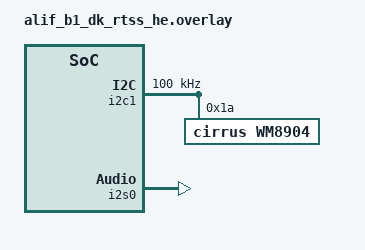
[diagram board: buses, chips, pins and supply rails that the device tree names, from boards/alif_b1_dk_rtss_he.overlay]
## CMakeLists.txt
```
# Copyright (C) 2025 Alif Semiconductor - All Rights Reserved.
# Use, distribution and modification of this code is permitted under the
# terms stated in the Alif Semiconductor Software License Agreement
#
# You should have received a copy of the Alif Semiconductor Software
# License Agreement with this file. If not, please write to:
# contact@alifsemi.com, or visit: https://alifsemi.com/license

cmake_minimum_required(VERSION 3.20.0)

# Include BLE Power Management snippet by default
if(NOT pm-ble IN_LIST SNIPPET)
  set(SNIPPET pm-ble ${SNIPPET} CACHE STRING "" FORCE)
endif()

find_package(Zephyr REQUIRED HINTS $ENV{ZEPHYR_BASE})
project(le_audio_unicast_sink)

set(COMMON_DIR ${CMAKE_CURRENT_LIST_DIR}/../../common)

target_sources(app PRIVATE
    src/main.c
    src/unicast_sink.c
    src/audio_datapath.c
    src/storage.c
    ${COMMON_DIR}/power_mgr.c
)

# Include directories
target_include_directories(app PRIVATE
	${COMMON_DIR}
)
```

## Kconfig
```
# Copyright (C) 2025 Alif Semiconductor - All Rights Reserved.
# Use, distribution and modification of this code is permitted under the
# terms stated in the Alif Semiconductor Software License Agreement
#
# You should have received a copy of the Alif Semiconductor Software
# License Agreement with this file. If not, please write to:
# contact@alifsemi.com, or visit: https://alifsemi.com/license

menu "Alif Bluetooth LE Audio Unicast Sink"

config BLE_DEVICE_NAME
	string "BLE device name"
	default "ALIF_CIS_SINK_L" if UNICAST_LOCATION_LEFT
	default "ALIF_CIS_SINK_R" if UNICAST_LOCATION_RIGHT
	default "ALIF_CIS_SINK" if UNICAST_LOCATION_BOTH
	help
	  Device name to be included in advertising packets

config MAXIMUM_PRESENTATION_DELAY_US
	int "Maximum available presentation delay in microseconds"
	range 40000 100000
	default 40000
	help
	  Maximum presentation delay must be at least 40ms.
	  There is no actual maximum value but 100ms is
	  used to set something which is long enough.
	  See LE Audio specification for more information.

config MINIMUM_PRESENTATION_DELAY_US
	int "Minimum available presentation delay in microseconds"
	range 1000 20000
	default 7500
	help
	  Minimum presentation delay to compensate for
	  the audio processing delay.

config USE_DIRECT_ADVERTISING_WHEN_RESTART
	bool "Use direct advertising when connection is lost or peer is bonded"
	default y

config USE_DIRECTED_FAST_ADVERTISING
	bool "Directed high duty cycle advertising"
	default n
	help
	  Use directed high duty cycle advertising when
	  connection is lost or peer is bonded

config BONDING_ALLOWED
	bool "Allow bonding"
	default y

config PRIVACY_ENABLED
	bool "Enable Privacy to use Random Private Resolvable Address"
	default n

choice
	prompt "Choose streaming type"
	default UNICAST_UNIDIR

	config UNICAST_BIDIR
	bool "Bidirectional"
	config UNICAST_UNIDIR
	bool "Unidirectional"
endchoice

choice
	prompt "Choose location"
	default UNICAST_LOCATION_BOTH if UNICAST_UNIDIR
	default UNICAST_LOCATION_LEFT if UNICAST_BIDIR

	config UNICAST_LOCATION_LEFT
	bool "Left"
	config UNICAST_LOCATION_RIGHT
	bool "Right"
	config UNICAST_LOCATION_BOTH
	bool "Both"
endchoice

config VOLUME_DEFAULT_LEVEL
	int "Default volume level"
	range 0 255
	default 60
	help
	  Default volume level after first boot or reset.

config VOLUME_CTRL_STEP_SIZE
	int "Volume control step size"
	range 1 255
	default 6
	help
	  Volume control step size

menu "Logging"

module = MAIN
module-str = main
source "subsys/logging/Kconfig.template.log_config"

module = UNICAST_SINK
module-str = unicast_sink
source "subsys/logging/Kconfig.template.log_config"

module = STORAGE
module-str = storage
source "subsys/logging/Kconfig.template.log_config"

endmenu # "Logging"

endmenu # "Alif Bluetooth LE Audio Unicast Sink"

source "Kconfig.zephyr"
```

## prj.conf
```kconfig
# Copyright (C) 2025 Alif Semiconductor - All Rights Reserved.
# Use, distribution and modification of this code is permitted under the
# terms stated in the Alif Semiconductor Software License Agreement
#
# You should have received a copy of the Alif Semiconductor Software
# License Agreement with this file. If not, please write to:
# contact@alifsemi.com, or visit: https://alifsemi.com/license

# Set default logging level to WARNING
CONFIG_LOG_DEFAULT_LEVEL=2

CONFIG_BT=y
CONFIG_BT_CUSTOM=y
CONFIG_ALIF_ROM_LC3_CODEC=y
CONFIG_ALIF_BLE_AUDIO=y

CONFIG_LOG=y
# CONFIG_LOG_MODE_IMMEDIATE=y
CONFIG_ASSERT=y

CONFIG_PRESENTATION_COMPENSATION_DIRECTION_SINK=y
CONFIG_PRESENTATION_COMPENSATION_CORRECTION_FACTOR=2
CONFIG_MINIMUM_PRESENTATION_DELAY_US=1000

# Should be replaced by TRNG when support is available
CONFIG_ENTROPY_GENERATOR=y
CONFIG_TEST_RANDOM_GENERATOR=y

# malloc support is required, simplest way is using newlib although it would also be possible to
# configure heap for picolibc
CONFIG_NEWLIB_LIBC=y

# Driver support for audio
CONFIG_I2S=y
CONFIG_DMA=y

# Audio driver support specific to B1 DK board.
# Audio codec is WM8904, connected via I2C.
CONFIG_I2C=y
CONFIG_WM8904=y
CONFIG_AUDIO=y
CONFIG_AUDIO_CODEC=y
CONFIG_I2C_INIT_PRIORITY=50
CONFIG_WM8904_INIT_PRIORITY=53

# This is specific to whichever clock you use. Currently presentation layer is
# commented out so this does nothing
CONFIG_AUDIO_CLOCK_DIVIDER=1

# Debug
CONFIG_USE_SEGGER_RTT=y
CONFIG_RTT_CONSOLE=y

CONFIG_MAIN_STACK_SIZE=4096
CONFIG_ISR_STACK_SIZE=4096
CONFIG_PRIVILEGED_STACK_SIZE=2048
CONFIG_IDLE_STACK_SIZE=1024
CONFIG_BOOT_BANNER=n
CONFIG_ALIF_BLE_HOST_ADDL_PRF_HEAPSIZE=10240
CONFIG_ALIF_BLE_HOST_ADDL_ENV_HEAPSIZE=8192

# Enable NVS as the backend for Settings
CONFIG_NVS=y
# Enable the Settings subsystem
CONFIG_SETTINGS=y
CONFIG_SETTINGS_NVS=y
CONFIG_SETTINGS_RUNTIME=y
CONFIG_MPU_ALLOW_FLASH_WRITE=y
CONFIG_FLASH=y
CONFIG_FLASH_MAP=y
CONFIG_NVS_LOG_LEVEL_WRN=y

# For MRAM(XIP) builds with LLVM exception tables cause linker errors as part of the code is placed to TCM
CONFIG_EXCEPTIONS=n
```

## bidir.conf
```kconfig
# Copyright (C) 2025 Alif Semiconductor - All Rights Reserved.
# Use, distribution and modification of this code is permitted under the
# terms stated in the Alif Semiconductor Software License Agreement
#
# You should have received a copy of the Alif Semiconductor Software
# License Agreement with this file. If not, please write to:
# contact@alifsemi.com, or visit: https://alifsemi.com/license

CONFIG_UNICAST_MONO=y
CONFIG_UNICAST_BIDIR=y
```

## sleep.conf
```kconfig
# Copyright (C) Alif Semiconductor - All Rights Reserved.
# Use, distribution and modification of this code is permitted under the
# terms stated in the Alif Semiconductor Software License Agreement
#
# You should have received a copy of the Alif Semiconductor Software
# License Agreement with this file. If not, please write to:
# contact@alifsemi.com, or visit: https://alifsemi.com/license

CONFIG_PM=y
CONFIG_PM_DEVICE=y
CONFIG_COUNTER=y
CONFIG_COUNTER_RTC_SNPS_DW=y
CONFIG_COUNTER_SNPS_DW=y
CONFIG_CORTEX_M_SYSTICK_IDLE_TIMER=y
CONFIG_POWEROFF=y

CONFIG_SE_SERVICE_INIT_PRIORITY=1
CONFIG_KERNEL_INIT_PRIORITY_DEFAULT=0
CONFIG_GPIO_INIT_PRIORITY=40
CONFIG_ALIF_MAX_SLEEP_CLOCK_DRIFT=252
CONFIG_ALIF_MAX_ACTIVE_CLOCK_DRIFT=252
```

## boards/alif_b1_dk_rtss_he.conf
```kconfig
# Copyright (C) 2023 Alif Semiconductor - All Rights Reserved.
# Use, distribution and modification of this code is permitted under the
# terms stated in the Alif Semiconductor Software License Agreement
#
# You should have received a copy of the Alif Semiconductor Software
# License Agreement with this file. If not, please write to:
# contact@alifsemi.com, or visit: https://alifsemi.com/license

# Audio driver support specific to B1 DK board.
# Audio codec is WM8904, connected via I2C.
CONFIG_I2C=y
CONFIG_WM8904=y

CONFIG_I2C_INIT_PRIORITY=50
CONFIG_I2C_TCA954X_ROOT_INIT_PRIO=51
CONFIG_I2C_TCA954X_CHANNEL_INIT_PRIO=52
CONFIG_WM8904_INIT_PRIORITY=53

# This is specific to whichever clock you use. Currently presentation layer is
# commented out so this does nothing
CONFIG_AUDIO_CLOCK_DIVIDER=1

# Debug
CONFIG_USE_SEGGER_RTT=y
CONFIG_RTT_CONSOLE=y
```

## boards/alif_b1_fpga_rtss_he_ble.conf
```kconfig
# Copyright (C) 2023 Alif Semiconductor - All Rights Reserved.
# Use, distribution and modification of this code is permitted under the
# terms stated in the Alif Semiconductor Software License Agreement
#
# You should have received a copy of the Alif Semiconductor Software
# License Agreement with this file. If not, please write to:
# contact@alifsemi.com, or visit: https://alifsemi.com/license

# Audio driver support specific to B1 FPGA board.
# Audio codec is WM8904, connected via I2C.
# Audio clock is provided by SI570, connected via I2C using TCA9548 I2C mux.
CONFIG_I2C=y
CONFIG_WM8904=y
CONFIG_SI570=y

CONFIG_I2C_INIT_PRIORITY=50
CONFIG_I2C_TCA954X_ROOT_INIT_PRIO=51
CONFIG_I2C_TCA954X_CHANNEL_INIT_PRIO=52
CONFIG_WM8904_INIT_PRIORITY=53

# SI570 clock output is passed through a fixed /8 divider to create MCLK signal
CONFIG_AUDIO_CLOCK_DIVIDER=8

# Uses ROM code version 1.2
CONFIG_ALIF_BLE_ROM_IMAGE_V1_2=y

# Debug
CONFIG_USE_SEGGER_RTT=y
CONFIG_RTT_CONSOLE=y

# Debugging configuration
#CONFIG_THREAD_NAME=y
#CONFIG_THREAD_ANALYZER=y
#CONFIG_THREAD_ANALYZER_AUTO=y
#CONFIG_THREAD_ANALYZER_RUN_UNLOCKED=y
#CONFIG_THREAD_ANALYZER_USE_PRINTK=y

# Add asserts
#CONFIG_ASSERT=y
#CONFIG_ASSERT_VERBOSE=y
#CONFIG_ASSERT_NO_COND_INFO=n
#CONFIG_ASSERT_NO_MSG_INFO=n
#CONFIG_THREAD_NAME=y
#CONFIG_STACK_SENTINEL=y
```

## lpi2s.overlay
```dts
/* Copyright (C) Alif Semiconductor - All Rights Reserved.
 * Use, distribution and modification of this code is permitted under the
 * terms stated in the Alif Semiconductor Software License Agreement
 *
 * You should have received a copy of the Alif Semiconductor Software
 * License Agreement with this file. If not, please write to:
 * contact@alifsemi.com, or visit: https://alifsemi.com/license
 *
 */

#include <dt-bindings/pinctrl/balletto-pinctrl.h>

/*
 * This overlay file is used to enable LPI2S interface for audio
 * and requires external jumpers to be connected to be able to
 * communicate with the audio codec:
 *     I2S SCK: P1.6 -> P4.5
 *     I2S WS:  P1.7 -> P4.6
 *     I2S SDI: P2.4 -> P4.3
 *     I2S SDO: P2.5 -> P4.4
 */

#define LPI2S_IRQ_NUM  48
#define LPI2S_IRQ_PRIO 3

#ifndef PIN_P4_3__LPI2S0_SDI_B
#define PIN_P4_3__LPI2S0_SDI_B PINMUX_PIN(PIN_P4_3, 2)
#endif
#ifndef PIN_P4_4__LPI2S0_SDO_B
#define PIN_P4_4__LPI2S0_SDO_B PINMUX_PIN(PIN_P4_4, 2)
#endif
#ifndef PIN_P4_5__LPI2S0_SCLK_B
#define PIN_P4_5__LPI2S0_SCLK_B PINMUX_PIN(PIN_P4_5, 3)
#endif
#ifndef PIN_P4_6__LPI2S0_WS_B
#define PIN_P4_6__LPI2S0_WS_B PINMUX_PIN(PIN_P4_6, 3)
#endif

/ {
	aliases {
		i2s-bus = &i2s4;
	};
};

&pinctrl_lpi2s {
	group0 {
		pinmux = <PIN_P4_3__LPI2S0_SDI_B>,
			 <PIN_P4_4__LPI2S0_SDO_B>,
			 <PIN_P4_5__LPI2S0_SCLK_B>,
			 <PIN_P4_6__LPI2S0_WS_B>;
		read-enable = <0x1>;
	};
};

/* Enable LPI2S interface */
&i2s4 {
	/delete-property/ clock-frequency;
	/delete-property/ driver-instance;
	compatible = "alif,i2s-sync";
	interrupts = <LPI2S_IRQ_NUM LPI2S_IRQ_PRIO>;
	bit-depth = <16>;
	sample-rate = <48000>;
	status = "okay";
};

/* Disable default I2S interface */
&i2s0 {
	status = "disabled";
};
```

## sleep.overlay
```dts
/* Copyright Alif Semiconductor - All Rights Reserved.
 * Use, distribution and modification of this code is permitted under the
 * terms stated in the Alif Semiconductor Software License Agreement
 *
 * You should have received a copy of the Alif Semiconductor Software
 * License Agreement with this file. If not, please write to:
 * contact@alifsemi.com, or visit: https://alifsemi.com/license
 *
 */

/*
 * Enable RTC and Set the counter to increment every 1sec
 */
&rtc0 {
	prescaler = < 0 >;
	status = "okay";
};

/**
 * Set the console uart frequency to use the HFOSC(38.4)
 */
&uart2 {
	clock-frequency = < 38400000 >;
};

/ {
	chosen {
		zephyr,cortex-m-idle-timer = &rtc0;
	};

	power-states {
		off: off {
			/* 4ms is time reserved for os wakeup and sleep */
			min-residency-us = < 2000000 >;
			/*min-residency-us = < 4000 >;*/
		};
	};
};
```

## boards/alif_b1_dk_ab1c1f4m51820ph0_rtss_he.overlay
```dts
/* Copyright (C) Alif Semiconductor - All Rights Reserved.
 * Use, distribution and modification of this code is permitted under the
 * terms stated in the Alif Semiconductor Software License Agreement
 *
 * You should have received a copy of the Alif Semiconductor Software
 * License Agreement with this file. If not, please write to:
 * contact@alifsemi.com, or visit: https://alifsemi.com/license
 *
 */

#include "unicast_acceptor.dtsi"
```

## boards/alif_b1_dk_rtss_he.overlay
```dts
/* Copyright (C) 2025 Alif Semiconductor - All Rights Reserved.
 * Use, distribution and modification of this code is permitted under the
 * terms stated in the Alif Semiconductor Software License Agreement
 *
 * You should have received a copy of the Alif Semiconductor Software
 * License Agreement with this file. If not, please write to:
 * contact@alifsemi.com, or visit: https://alifsemi.com/license
 *
 */

#include <dt-bindings/pinctrl/balletto-pinctrl.h>
#include <dt-bindings/i2c/i2c.h>
#include <dt-bindings/gpio/gpio.h>

#define I2S0_IRQ_NUM  141
#define I2S0_IRQ_PRIO 3

#define LPI2S_IRQ_NUM  48
#define LPI2S_IRQ_PRIO 3

/ {
	aliases {
		/delete-property/ sw0;

		audio-codec = &wm8904;
		i2s-bus = &i2s0;
		/*i2s-mic = &i2s2;*/
	};

	/delete-node/ buttons;
};

&dma2 {
	status = "okay";
};

&i2c1 {
	clock-frequency = <I2C_BITRATE_STANDARD>;
	status = "okay";

	wm8904: wm8904@1a {
		compatible = "cirrus,wm8904";
		reg = <0x1a>;
		status = "okay";
	};
};

/* Sink (output) to WM8904 codec IC */
&i2s0 {
	/delete-property/ clock-frequency;
	/delete-property/ driver-instance;
	compatible = "alif,i2s-sync";
	interrupts = <I2S0_IRQ_NUM I2S0_IRQ_PRIO>;
	bit-depth = <16>;
	sample-rate = <48000>;
	status = "okay";
};

/* Source (input) use onboard I2S microphones (T5848)
 *
 * Balletto A5 DevKit does not have I2S mics anymore.
 * TODO: Need to be replaced by the PDM mics.
 */

&pinctrl_i2c1 {
	group0 {
		pinmux = <PIN_P7_2__I2C1_SDA_C>,
			 <PIN_P7_3__I2C1_SCL_C>;
	};
};

&pinctrl_i2s0 {
	group0 {
		pinmux = <PIN_P2_4__I2S0_SDI_B>,
			 <PIN_P2_5__I2S0_SDO_B>,
			 <PIN_P1_7__I2S0_WS_A>,
			 <PIN_P1_6__I2S0_SCLK_A>;
	};
};

/* Disable unnecessary nodes */
&uart_ahi {
	status = "disabled";
};

&i2s1 {
	status = "disabled";
};
```

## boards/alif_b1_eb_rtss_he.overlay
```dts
/* Copyright (C) Alif Semiconductor - All Rights Reserved.
 * Use, distribution and modification of this code is permitted under the
 * terms stated in the Alif Semiconductor Software License Agreement
 *
 * You should have received a copy of the Alif Semiconductor Software
 * License Agreement with this file. If not, please write to:
 * contact@alifsemi.com, or visit: https://alifsemi.com/license
 *
 */

#include <dt-bindings/pinctrl/balletto-pinctrl.h>
#include <dt-bindings/i2c/i2c.h>
#include <dt-bindings/gpio/gpio.h>

#define I2S0_IRQ_NUM  141
#define I2S0_IRQ_PRIO 3

#define LPI2S_IRQ_NUM  48
#define LPI2S_IRQ_PRIO 3

/ {
	aliases {
		/delete-property/ sw0;

		audio-codec = &wm8904;
		i2s-bus = &i2s0;
		/*i2s-mic = &i2s2;*/
	};

	/delete-node/ buttons;
};

&dma2 {
	status = "okay";
};

&i2c0 {
	clock-frequency = <I2C_BITRATE_STANDARD>;
	status = "okay";

	wm8904: wm8904@1a {
		compatible = "cirrus,wm8904";
		reg = <0x1a>;
		status = "okay";
	};
};

/* Sink (output) to WM8904 codec IC */
&i2s0 {
	/delete-property/ clock-frequency;
	/delete-property/ driver_instance;
	compatible = "alif,i2s-sync";
	interrupts = <I2S0_IRQ_NUM I2S0_IRQ_PRIO>;
	bit-depth = <16>;
	sample-rate = <48000>;
	status = "okay";
};

/* Source (input) use onboard I2S microphones (T5848)
 *
 * Balletto A5 DevKit does not have I2S mics anymore.
 * TODO: Need to be replaced by the PDM mics.
 */

&pinctrl_i2c0 {
	group0 {
		pinmux = <PIN_P7_0__I2C0_SDA_C>,
			 <PIN_P7_1__I2C0_SCL_C>;
	};
};

&pinctrl_i2s0 {
	group0 {
		pinmux = <PIN_P8_0__I2S0_SDI_C>,
			 <PIN_P8_1__I2S0_SDO_C>,
			 <PIN_P8_3__I2S0_WS_C>,
			 <PIN_P8_2__I2S0_SCLK_C>;
	};
};

/* Disable unnecessary nodes */
&i2s1 {
	status = "disabled";
};

&uart_ahi {
	status = "disabled";
};
```

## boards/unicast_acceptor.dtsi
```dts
/* Copyright (C) Alif Semiconductor - All Rights Reserved.
 * Use, distribution and modification of this code is permitted under the
 * terms stated in the Alif Semiconductor Software License Agreement
 *
 * You should have received a copy of the Alif Semiconductor Software
 * License Agreement with this file. If not, please write to:
 * contact@alifsemi.com, or visit: https://alifsemi.com/license
 *
 */

#include <dt-bindings/pinctrl/balletto-pinctrl.h>
#include <dt-bindings/i2c/i2c.h>
#include <dt-bindings/gpio/gpio.h>

#define I2S0_IRQ_NUM  141
#define I2S0_IRQ_PRIO 3

/ {
	aliases {
		/delete-property/ sw0;

		audio-codec = &wm8904;
		i2s-bus = &i2s0;
		/*i2s-mic = &i2s2;*/
	};

	/delete-node/ buttons;
};

#if 0 /* this needs some more changes... */
&suspend_idle {
	// min-residency-us = <500>;
	// exit-latency-us = <500>;
	status = "okay";
};
#endif

&dma2 {
	status = "okay";
};

&i2c1 {
	clock-frequency = <I2C_BITRATE_STANDARD>;
	status = "okay";

	wm8904: wm8904@1a {
		compatible = "cirrus,wm8904";
		reg = <0x1a>;
		status = "okay";
	};
};

/* Sink (output) to WM8904 codec IC */
&i2s0 {
	/delete-property/ clock-frequency;
	/delete-property/ driver-instance;
	compatible = "alif,i2s-sync";
	interrupts = <I2S0_IRQ_NUM I2S0_IRQ_PRIO>;
	bit-depth = <16>;
	sample-rate = <48000>;
	status = "okay";
};

/* Source (input) use onboard I2S microphones (T5848)
 *
 * Balletto A5 DevKit does not have I2S mics anymore.
 * TODO: Need to be replaced by the PDM mics.
 */

&pinctrl_i2c1 {
	group0 {
		pinmux = <PIN_P7_2__I2C1_SDA_C>,
			 <PIN_P7_3__I2C1_SCL_C>;
	};
};

&pinctrl_i2s0 {
	group0 {
		pinmux = <PIN_P2_4__I2S0_SDI_B>,
			 <PIN_P2_5__I2S0_SDO_B>,
			 <PIN_P1_7__I2S0_WS_A>,
			 <PIN_P1_6__I2S0_SCLK_A>;
	};
};

/* Disable unnecessary nodes */
&uart_ahi {
	status = "disabled";
};

&i2s1 {
	status = "disabled";
};
```

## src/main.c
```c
/* Copyright (C) 2025 Alif Semiconductor - All Rights Reserved.
 * Use, distribution and modification of this code is permitted under the
 * terms stated in the Alif Semiconductor Software License Agreement
 *
 * You should have received a copy of the Alif Semiconductor Software
 * License Agreement with this file. If not, please write to:
 * contact@alifsemi.com, or visit: https://alifsemi.com/license
 */
#include <stdio.h>
#include <zephyr/drivers/counter.h>
#include <zephyr/kernel.h>
#include <zephyr/logging/log.h>
#include <zephyr/settings/settings.h>
#include <zephyr/sys/__assert.h>

#include <soc_common.h>

#include "alif_ble.h"
#include "gapm.h"
#include "gapm_le.h"
#include "gapc.h"
#include "gapc_le.h"
#include "gapc_sec.h"
#include "power_mgr.h"

#include "unicast_sink.h"
#include "storage.h"

#define APPEARANCE_EARBUDS 0x0941
#define APPEARANCE_HEADSET 0x0942

#if CONFIG_UNICAST_BIDIR
#define APPEARANCE APPEARANCE_HEADSET
#else
#define APPEARANCE APPEARANCE_EARBUDS
#endif

#if CONFIG_UNICAST_LOCATION_BOTH
#define IRK_VAL 0x8B
#elif CONFIG_UNICAST_LOCATION_LEFT
#define IRK_VAL 0x8A
#elif CONFIG_UNICAST_LOCATION_RIGHT
#define IRK_VAL 0x89
#else
#define IRK_VAL 0x88
#endif

LOG_MODULE_REGISTER(main, CONFIG_MAIN_LOG_LEVEL);

K_SEM_DEFINE(gapm_init_sem, 0, 1);

struct connection_status {
#if CONFIG_USE_DIRECT_ADVERTISING_WHEN_RESTART
	gap_bdaddr_t addr; /*!< Peer device address */
#endif
	uint8_t conidx; /*!< connection index */
};

static struct connection_status app_con_info = {
	.conidx = GAP_INVALID_CONIDX,
#if CONFIG_USE_DIRECT_ADVERTISING_WHEN_RESTART
	.addr.addr_type = 0xff,
#endif
};

#if CONFIG_USE_DIRECT_ADVERTISING_WHEN_RESTART
#define APP_CON_ADDR &app_con_info.addr
#else
#define APP_CON_ADDR NULL
#endif

struct app_con_bond_data {
	gapc_pairing_keys_t keys;
	gapc_bond_data_t bond_data;
};

static struct app_con_bond_data app_con_bond_data;

/* Load names from configuration file */
const char device_name[] = CONFIG_BLE_DEVICE_NAME;

static const gap_sec_key_t gapm_irk = {.key = {0xA1, 0xB2, 0xC3, 0xD4, 0xE5, 0xF6, 0x07, 0x08, 0x11,
					       0x22, 0x33, 0x44, 0x55, 0x66, 0x77, IRK_VAL}};

/* ---------------------------------------------------------------------------------------- */
/* Settings NVM storage handlers */

static int storage_load_bond_data(void)
{
	if (storage_init() < 0) {
		return -1;
	}

	storage_load(SETTINGS_NAME_KEYS, &app_con_bond_data.keys, sizeof(app_con_bond_data.keys));
	storage_load(SETTINGS_NAME_BOND_DATA, &app_con_bond_data.bond_data,
		     sizeof(app_con_bond_data.bond_data));
#if CONFIG_USE_DIRECT_ADVERTISING_WHEN_RESTART
	storage_load(SETTINGS_NAME_PEER, &app_con_info.addr, sizeof(app_con_info.addr));
#endif

	LOG_DBG("Settings loaded successfully");
	return 0;
}

/* ---------------------------------------------------------------------------------------- */
/* Bluetooth GAPM callbacks */

static void on_get_peer_version_cmp_cb(uint8_t const conidx, uint32_t const metainfo,
				       uint16_t const status, const gapc_version_t *const p_version)
{
	if (status != GAP_ERR_NO_ERROR) {
		LOG_ERR("Client %u Peer version fetch failed! err:%u", conidx, status);
		return;
	}
	LOG_INF("Client %u company_id:%u, lmp_subversion:%u, lmp_version:%u", conidx,
		p_version->company_id, p_version->lmp_subversion, p_version->lmp_version);
}

static void on_peer_features_cmp_cb(uint8_t const conidx, uint32_t const metainfo, uint16_t status,
				    const uint8_t *const p_features)
{
	if (status == GAP_ERR_NO_ERROR) {
		LOG_INF("Client %u features: %02X:%02X:%02X:%02X:%02X:%02X:%02X:%02X", conidx,
			p_features[0], p_features[1], p_features[2], p_features[3], p_features[4],
			p_features[5], p_features[6], p_features[7]);
	} else {
		LOG_ERR("Client %u get peer features failed! status:%u", conidx, status);
	}

	status = gapc_get_peer_version(conidx, 0, on_get_peer_version_cmp_cb);
	if (status != GAP_ERR_NO_ERROR) {
		LOG_ERR("Client %u unable to get peer version! err:%u", conidx, status);
	}
}

static void connection_confirm_not_bonded(uint_fast8_t const conidx,
					  gapc_bond_data_t const *const p_bond_data)
{
	uint_fast16_t status;

	status = gapc_le_connection_cfm(conidx, 0, p_bond_data);
	if (status != GAP_ERR_NO_ERROR) {
		LOG_ERR("Client %u connection confirmation failed! err:%u", conidx, status);
	}
	status = gapc_le_get_peer_features(conidx, 0, on_peer_features_cmp_cb);
	if (status != GAP_ERR_NO_ERROR) {
		LOG_ERR("Client %u Unable to get peer features! err:%u", conidx, status);
	}
}

static void on_address_resolved_cb(uint16_t status, const gap_addr_t *const p_addr,
				   const gap_sec_key_t *const pirk)
{
	uint_fast8_t const conidx = app_con_info.conidx;
	/* Check whether the peer device is bonded */
	bool const resolved = (status == GAP_ERR_NO_ERROR);

	LOG_INF("Client %u address resolve ready! status:%u, %s peer device", conidx, status,
		resolved ? "KNOWN" : "UNKNOWN");

#if CONFIG_USE_DIRECT_ADVERTISING_WHEN_RESTART
	app_con_info.addr.addr_type = GAP_ADDR_RAND;
	memcpy(app_con_info.addr.addr, p_addr->addr, sizeof(app_con_info.addr.addr));
#endif

	if (resolved) {
		gapc_le_connection_cfm(conidx, 0, &app_con_bond_data.bond_data);
		return;
	}
	connection_confirm_not_bonded(conidx, NULL);
}

static void on_le_connection_req(uint8_t const conidx, uint32_t const metainfo,
				 uint8_t const actv_idx, uint8_t const role,
				 const gap_bdaddr_t *const p_peer_addr,
				 const gapc_le_con_param_t *const p_con_params,
				 uint8_t const clk_accuracy)
{
	bool const public = (p_peer_addr->addr_type == GAP_ADDR_PUBLIC);

	app_con_info.conidx = conidx;
#if CONFIG_USE_DIRECT_ADVERTISING_WHEN_RESTART
	memcpy(&app_con_info.addr, p_peer_addr, sizeof(app_con_info.addr));
#endif

	if (!public) {
		/* Number of IRKs */
		uint8_t const nb_irk = 1;
		/* Resolve Address */
		uint16_t const status = gapm_le_resolve_address(
			(gap_addr_t *)p_peer_addr->addr, nb_irk, &app_con_bond_data.keys.irk.key,
			on_address_resolved_cb);

		if (status == GAP_ERR_INVALID_PARAM) {
			/* Address not resolvable, just confirm the connection */
			connection_confirm_not_bonded(conidx, &app_con_bond_data.bond_data);
		} else if (status != GAP_ERR_NO_ERROR) {
			LOG_ERR("Client %u Unable to start resolve address! err:%u", conidx,
				status);
		}
	} else {
		gapc_le_connection_cfm(conidx, 0, &app_con_bond_data.bond_data);
	}

	LOG_INF("Connection request. conidx:%u (actv_idx:%u), role %s", conidx, actv_idx,
		role ? "PERIPH" : "CENTRAL");

	LOG_DBG("  interval %fms, latency %u, supervision timeout %ums, clk_accuracy:%u",
		(p_con_params->interval * 1.25), p_con_params->latency,
		(uint32_t)p_con_params->sup_to * 10, clk_accuracy);

	LOG_DBG("  Peer address: %s %02X:%02X:%02X:%02X:%02X:%02X", public ? "Public" : "Private",
		p_peer_addr->addr[5], p_peer_addr->addr[4], p_peer_addr->addr[3],
		p_peer_addr->addr[2], p_peer_addr->addr[1], p_peer_addr->addr[0]);
}

static const struct gapc_connection_req_cb gapc_con_cbs = {
	.le_connection_req = on_le_connection_req,
};

static void on_gapc_le_encrypt_req(uint8_t const conidx, uint32_t const metainfo,
				   uint16_t const ediv, const gap_le_random_nb_t *const p_rand)
{
	uint16_t const status = gapc_le_encrypt_req_reply(
		conidx, true, &app_con_bond_data.keys.ltk.key, app_con_bond_data.keys.ltk.key_size);

	if (status != GAP_ERR_NO_ERROR) {
		LOG_ERR("Client %u LE encryption reply failed! err:%u", conidx, status);
		return;
	}
}

static void on_gapc_sec_auth_info(uint8_t const conidx, uint32_t const metainfo,
				  uint8_t const sec_lvl, bool const encrypted,
				  uint8_t const key_size)
{
	LOG_INF("Client %u Link security info. level:%u, encrypted:%s, key_size:%u", conidx,
		sec_lvl, (encrypted ? "TRUE" : "FALSE"), key_size);
}

static void on_gapc_pairing_succeed(uint8_t const conidx, uint32_t const metainfo,
				    uint8_t const pairing_level, bool const enc_key_present,
				    uint8_t const key_type)
{
	bool const bonded = gapc_is_bonded(conidx);

	LOG_INF("Client %u pairing SUCCEED. pairing_level:%u, bonded:%s", conidx, pairing_level,
		bonded ? "TRUE" : "FALSE");

	app_con_bond_data.bond_data.pairing_lvl = pairing_level;
	app_con_bond_data.bond_data.enc_key_present = enc_key_present;

	storage_save(SETTINGS_NAME_BOND_DATA, &app_con_bond_data.bond_data,
		     sizeof(app_con_bond_data.bond_data));
#if CONFIG_USE_DIRECT_ADVERTISING_WHEN_RESTART
	storage_save(SETTINGS_NAME_PEER, &app_con_info.addr, sizeof(app_con_info.addr));
#endif
}

static void on_gapc_pairing_failed(uint8_t const conidx, uint32_t const metainfo,
				   uint16_t const reason)
{
	LOG_ERR("Client %u pairing failed, reason: 0x%04X", conidx, reason);
	app_con_info.conidx = GAP_INVALID_CONIDX;
}

static void on_gapc_info_req(uint8_t const conidx, uint32_t const metainfo, uint8_t const exp_info)
{
	uint16_t err;

	switch (exp_info) {
	case GAPC_INFO_IRK: {
		/* IRK exchange if bonding enabled */
		err = gapc_le_pairing_provide_irk(conidx, &gapm_irk);
		if (err) {
			LOG_ERR("Client %u IRK provide failed. err: %u", conidx, err);
			break;
		}
		LOG_INF("Client %u IRK sent successful", conidx);
		break;
	}
	case GAPC_INFO_CSRK: {
		/* CSRK exchange if bonding enabled */
		err = gapc_pairing_provide_csrk(conidx, &app_con_bond_data.bond_data.local_csrk);
		if (err) {
			LOG_ERR("Client %u CSRK provide failed. err: %u", conidx, err);
			break;
		}
		LOG_INF("Client %u CSRK sent successful", conidx);
		break;
	}
	case GAPC_INFO_BT_PASSKEY:
	case GAPC_INFO_PASSKEY_DISPLAYED: {
		err = gapc_pairing_provide_passkey(conidx, true, 123456);
		if (err) {
			LOG_ERR("Client %u PASSKEY provide failed. err: %u", conidx, err);
			break;
		}
		LOG_INF("Client %u PASSKEY 123456 provided", conidx);
		break;
	}
	default:
		LOG_WRN("Client %u Unsupported info %u requested!", conidx, exp_info);
		break;
	}
}

static void on_gapc_pairing_req(uint8_t const conidx, uint32_t const metainfo,
				uint8_t const auth_level)
{
	LOG_DBG("Client %u pairing requested. auth_level:%u", conidx, auth_level);

	gapc_pairing_t pairing_info = {
		.auth = GAP_AUTH_REQ_NO_MITM_NO_BOND,
		.iocap = GAP_IO_CAP_NO_INPUT_NO_OUTPUT,
		.ikey_dist = GAP_KDIST_ENCKEY | GAP_KDIST_IDKEY,
		.key_size = GAP_KEY_LEN,
		.oob = GAP_OOB_AUTH_DATA_NOT_PRESENT,
		.rkey_dist = GAP_KDIST_ENCKEY | GAP_KDIST_IDKEY,
	};

	if (IS_ENABLED(CONFIG_BONDING_ALLOWED) && (auth_level & GAP_AUTH_BOND)) {
		pairing_info.auth = GAP_AUTH_REQ_SEC_CON_BOND;
		pairing_info.iocap = GAP_IO_CAP_DISPLAY_ONLY;
	} else if (auth_level & GAP_AUTH_SEC_CON) {
		pairing_info.auth = GAP_AUTH_SEC_CON;
	}

	uint16_t const status = gapc_le_pairing_accept(conidx, true, &pairing_info, 0);

	if (status != GAP_ERR_NO_ERROR) {
		LOG_ERR("Pairing accept failed! error: %u", status);
	}
}

static void on_gapc_sec_numeric_compare_req(uint8_t const conidx, uint32_t const metainfo,
					    uint32_t const value)
{
	LOG_DBG("Client %u pairing - numeric compare. value:%u", conidx, value);
	gapc_pairing_numeric_compare_rsp(conidx, true);
}

static void on_key_received(uint8_t conidx, uint32_t metainfo, const gapc_pairing_keys_t *p_keys)
{
	LOG_DBG("Client %u keys received: key_bf:%u, level:%u", conidx, p_keys->valid_key_bf,
		p_keys->pairing_lvl);

	gapc_pairing_keys_t *const p_appkeys = &app_con_bond_data.keys;
	uint8_t key_bits = GAP_KDIST_NONE;

	if (p_keys->valid_key_bf & GAP_KDIST_ENCKEY) {
		memcpy(&p_appkeys->ltk, &p_keys->ltk, sizeof(p_appkeys->ltk));
		key_bits |= GAP_KDIST_ENCKEY;
	}

	if (p_keys->valid_key_bf & GAP_KDIST_IDKEY) {
		memcpy(&p_appkeys->irk, &p_keys->irk, sizeof(p_appkeys->irk));
		key_bits |= GAP_KDIST_IDKEY;
	}

	if (p_keys->valid_key_bf & GAP_KDIST_SIGNKEY) {
		memcpy(&p_appkeys->csrk, &p_keys->csrk, sizeof(p_appkeys->csrk));
		key_bits |= GAP_KDIST_SIGNKEY;
	}

	p_appkeys->pairing_lvl = p_keys->pairing_lvl;
	p_appkeys->valid_key_bf = key_bits;

	storage_save(SETTINGS_NAME_KEYS, &app_con_bond_data.keys, sizeof(app_con_bond_data.keys));
}

static const gapc_security_cb_t gapc_sec_cbs = {
	.le_encrypt_req = on_gapc_le_encrypt_req,
	.auth_info = on_gapc_sec_auth_info,
	.pairing_succeed = on_gapc_pairing_succeed,
	.pairing_failed = on_gapc_pairing_failed,
	.info_req = on_gapc_info_req,
	.pairing_req = on_gapc_pairing_req,
	.numeric_compare_req = on_gapc_sec_numeric_compare_req,
	.key_received = on_key_received,
	/* Others are useless for LE peripheral device */
};

static void on_disconnection(uint8_t const conidx, uint32_t const metainfo, uint16_t const reason)
{
	LOG_INF("Client %u disconnected for reason %u", conidx, reason);

	app_con_info.conidx = GAP_INVALID_CONIDX;
	/* Restart advertising... */
	unicast_sink_adv_start(APP_CON_ADDR);
}

static void on_bond_data_updated(uint8_t const conidx, uint32_t const metainfo,
				 const gapc_bond_data_updated_t *const p_data)
{
	LOG_INF("Client %u bond data updated: gatt_start_hdl:%u, gatt_end_hdl:%u, "
		"svc_chg_hdl:%u, cli_info:%u, cli_feat:%u, srv_feat:%u",
		conidx, p_data->gatt_start_hdl, p_data->gatt_end_hdl, p_data->svc_chg_hdl,
		p_data->cli_info, p_data->cli_feat, p_data->srv_feat);
}

static void on_name_get(uint8_t const conidx, uint32_t const metainfo, uint16_t const token,
			uint16_t const offset, uint16_t const max_len)
{
	const size_t device_name_len = sizeof(device_name) - 1;
	const size_t short_len = (device_name_len > max_len ? max_len : device_name_len);

	gapc_le_get_name_cfm(conidx, token, GAP_ERR_NO_ERROR, device_name_len, short_len,
			     (const uint8_t *)device_name);
}

static void on_appearance_get(uint8_t const conidx, uint32_t const metainfo, uint16_t const token)
{
	gapc_le_get_appearance_cfm(conidx, token, GAP_ERR_NO_ERROR, APPEARANCE);
}

static const gapc_connection_info_cb_t gapc_inf_cbs = {
	.disconnected = on_disconnection,
	.bond_data_updated = on_bond_data_updated,
	.name_get = on_name_get,
	.appearance_get = on_appearance_get,
	/* Other callbacks in this struct are optional */
};

static const gapc_le_config_cb_t gapc_le_cfg_cbs = {0};

static void on_gapm_err(uint32_t metainfo, uint8_t code)
{
	LOG_ERR("GAPM error %d", code);
}

static const gapm_cb_t gapm_err_cbs = {
	.cb_hw_error = on_gapm_err,
};

static const gapm_callbacks_t gapm_cbs = {
	.p_con_req_cbs = &gapc_con_cbs,
	.p_sec_cbs = &gapc_sec_cbs,
	.p_info_cbs = &gapc_inf_cbs,
	.p_le_config_cbs = &gapc_le_cfg_cbs,
	.p_bt_config_cbs = NULL,    /* BT classic so not required */
	.p_gapm_cbs = &gapm_err_cbs,
};

/* ---------------------------------------------------------------------------------------- */
/* BLE config (GAPM) */

static void on_gapm_process_complete(uint32_t const metainfo, uint16_t const status)
{
	if (status != GAP_ERR_NO_ERROR) {
		LOG_ERR("GAPM process completed with error %u", status);
		return;
	}

	switch (metainfo) {
	case 1:
		LOG_DBG("GAPM configured successfully");
		break;
	case 2:
		LOG_DBG("GAPM name set successfully");
		break;
	case 3:
		LOG_DBG("GAPM reset successfully");
		break;
	default:
		LOG_ERR("GAPM Unknown metadata!");
		return;
	}

	k_sem_give(&gapm_init_sem);
}

static gap_addr_t private_address;

static void on_gapm_le_random_addr_cb(uint16_t const status, const gap_addr_t *const p_addr)
{
	if (status != GAP_ERR_NO_ERROR) {
		LOG_ERR("GAPM address generation error %u", status);
		return;
	}

	LOG_DBG("Generated address: %02X:%02X:%02X:%02X:%02X:%02X", p_addr->addr[5],
		p_addr->addr[4], p_addr->addr[3], p_addr->addr[2], p_addr->addr[1],
		p_addr->addr[0]);

	private_address = *p_addr;

	storage_save(SETTINGS_NAME_ADDR, &private_address, sizeof(private_address));

	k_sem_give(&gapm_init_sem);
}

static int ble_stack_configure(uint8_t const role)
{
	/* Bluetooth stack configuration*/
	gapm_config_t gapm_cfg = {
		.role = role,
		.pairing_mode = GAPM_PAIRING_SEC_CON,
		.privacy_cfg = 0,
		.renew_dur = 15 * 60, /* 15 minutes */
		.private_identity.addr = {0},
		.irk = gapm_irk,
		.gap_start_hdl = 0,
		.gatt_start_hdl = 0,
		.att_cfg = 0,
		.sugg_max_tx_octets = GAP_LE_MAX_OCTETS,
		/* Use the minimum transmission time to minimize latency */
		.sugg_max_tx_time = GAP_LE_MIN_TIME,
		.tx_pref_phy = GAP_PHY_LE_2MBPS,
		.rx_pref_phy = GAP_PHY_LE_2MBPS,
		.tx_path_comp = 0,
		.rx_path_comp = 0,
		/* BT classic - not used */
		.class_of_device = 0x200408,
		.dflt_link_policy = 0,
	};

	int err;

	storage_load(SETTINGS_NAME_ADDR, &private_address, sizeof(private_address));

	if (private_address.addr[5] == 0) {
		/* Configure GAPM to prepare address generation */
		err = gapm_configure(1, &gapm_cfg, &gapm_cbs, on_gapm_process_complete);
		if (err != GAP_ERR_NO_ERROR) {
			LOG_ERR("gapm_configure error %u", err);
			return -1;
		}
		if (k_sem_take(&gapm_init_sem, K_MSEC(1000)) != 0) {
			LOG_ERR("  FAIL! GAPM config timeout!");
			return -1;
		}

		/* Generate random static address */
		err = gapm_le_generate_random_addr(GAP_BD_ADDR_STATIC, on_gapm_le_random_addr_cb);
		if (err != GAP_ERR_NO_ERROR) {
			LOG_ERR("gapm_le_generate_random_addr error %u", err);
			return -1;
		}
		if (k_sem_take(&gapm_init_sem, K_MSEC(1000)) != 0) {
			LOG_ERR("  FAIL! GAPM random address timeout!");
			return -1;
		}

		/* Reset GAPM to set address */
		err = gapm_reset(3, on_gapm_process_complete);
		if (err != GAP_ERR_NO_ERROR) {
			LOG_ERR("gapm_reset error %u", err);
			return -1;
		}
		if (k_sem_take(&gapm_init_sem, K_MSEC(1000)) != 0) {
			LOG_ERR("  FAIL! GAPM reset timeout!");
			return -1;
		}
	}

	/* Reconfigure GAPM with generated address */
	gapm_cfg.privacy_cfg = GAPM_PRIV_CFG_PRIV_ADDR_BIT;
#if CONFIG_PRIVACY_ENABLED
	gapm_cfg.privacy_cfg |= GAPM_PRIV_CFG_PRIV_EN_BIT;
#endif
	gapm_cfg.private_identity = private_address;

	err = gapm_configure(1, &gapm_cfg, &gapm_cbs, on_gapm_process_complete);
	if (err != GAP_ERR_NO_ERROR) {
		LOG_ERR("gapm_configure error %u", err);
		return -1;
	}
	if (k_sem_take(&gapm_init_sem, K_MSEC(1000)) != 0) {
		LOG_ERR("  FAIL! GAPM config timeout!");
		return -1;
	}

	LOG_INF("Set name: %s", device_name);
	err = gapm_set_name(2, strlen(device_name), (const uint8_t *)device_name,
			    on_gapm_process_complete);
	if (err != GAP_ERR_NO_ERROR) {
		LOG_ERR("gapm_set_name error %u", err);
		return -1;
	}
	if (k_sem_take(&gapm_init_sem, K_MSEC(1000)) != 0) {
		LOG_ERR("  FAIL! GAPM name set timeout!");
		return -1;
	}

#if CONFIG_BONDING_ALLOWED
	/* Configure security level */
	gapm_le_configure_security_level(GAP_SEC1_SEC_CON_PAIR_ENC);
	LOG_INF("Security enabled for bonding");
#endif

	gapm_le_set_appearance(APPEARANCE);

	gap_bdaddr_t identity;

	gapm_get_identity(&identity);

	if (identity.addr_type == GAP_ADDR_PUBLIC) {
		LOG_DBG("Device address type: Public");
	} else {
		uint32_t const type = identity.addr[5] >> 6;

		switch (type) {
		case 0b00:
			LOG_DBG("Device address type: Random Private Non-Resolvable Address");
			break;
		case 0b01:
			LOG_DBG("Device address type: Random Private Resolvable Address");
			break;
		case 0b11:
			LOG_DBG("Device address type: Random Static Address format");
			break;
		case 0b10:
		default:
			LOG_WRN("Device address type: unknown");
			break;
		}
	}
	LOG_INF("Device address: %02X:%02X:%02X:%02X:%02X:%02X", identity.addr[5], identity.addr[4],
		identity.addr[3], identity.addr[2], identity.addr[1], identity.addr[0]);

	LOG_DBG("BLE init complete!");

	return 0;
}

/* ---------------------------------------------------------------------------------------- */
/* Application entry point */

int main(void)
{
	LOG_INF("Alif Unicast Acceptor app started");

	if (storage_load_bond_data() < 0) {
		return -1;
	}

	int ret = alif_ble_enable(NULL);

	if (ret) {
		LOG_ERR("Failed to enable bluetooth, err %d", ret);
		return ret;
	}

	LOG_DBG("BLE enabled");

	if (ble_stack_configure(GAP_ROLE_LE_PERIPHERAL)) {
		return -1;
	}

	if (unicast_sink_init()) {
		return -1;
	}

	if (unicast_sink_adv_start(APP_CON_ADDR)) {
		return -1;
	}

	power_mgr_log_flush();
	power_mgr_allow_sleep();

	k_sleep(K_FOREVER);

	return 0;
}
```

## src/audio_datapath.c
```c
/* Copyright (C) 2025 Alif Semiconductor - All Rights Reserved.
 * Use, distribution and modification of this code is permitted under the
 * terms stated in the Alif Semiconductor Software License Agreement
 *
 * You should have received a copy of the Alif Semiconductor Software
 * License Agreement with this file. If not, please write to:
 * contact@alifsemi.com, or visit: https://alifsemi.com/license
 */

#include <zephyr/types.h>
#include <zephyr/device.h>
#include <zephyr/drivers/i2c.h>
#include <zephyr/logging/log.h>
#include <zephyr/audio/codec.h>
#include <zephyr/pm/device_runtime.h>
#include <sync_timer.h>

#include "bluetooth/le_audio/audio_decoder.h"
#include "bluetooth/le_audio/audio_encoder.h"

#include "audio_datapath.h"
#include "power_mgr.h"

#if CONFIG_ALIF_BLE_AUDIO_USE_RAMFUNC
#define INT_RAMFUNC __ramfunc
#else
#define INT_RAMFUNC
#endif

#define I2S_SINK_DEV DEVICE_DT_GET(CODEC_I2S_NODE)

#if DT_NODE_EXISTS(I2S_MIC_NODE)
#define I2S_SOURCE_DEV DEVICE_DT_GET(I2S_MIC_NODE)
#else
#define I2S_SOURCE_DEV I2S_SINK_DEV
#endif

LOG_MODULE_REGISTER(audio_datapath, CONFIG_BLE_AUDIO_LOG_LEVEL);

struct audio_datapath {
	struct audio_encoder *encoder;
	struct audio_decoder *decoder;
};

static struct audio_datapath env;

/* Initialisation to perform pre-main */
static int unicast_audio_path_init(void)
{
	int ret;

	/* Check all devices are ready */
	ret = device_is_ready(DEVICE_DT_GET(CODEC_CFG_NODE));
	if (!ret) {
		LOG_ERR("Audio codec is not ready");
		return -1;
	}

	ret = device_is_ready(I2S_SINK_DEV);
	if (!ret) {
		LOG_ERR("I2S is not ready");
		return -1;
	}

	ret = device_is_ready(I2S_SOURCE_DEV);
	if (!ret) {
		LOG_ERR("I2S mic is not ready");
		return -1;
	}

	/* Stop codec output if started during init */
	audio_codec_stop_output(DEVICE_DT_GET(CODEC_CFG_NODE));

	return 0;
}
SYS_INIT(unicast_audio_path_init, APPLICATION, 0);

#if ENCODER_DEBUG
INT_RAMFUNC static void on_encoder_frame_complete(void *param, uint32_t timestamp, uint16_t sdu_seq)
{
	if ((sdu_seq % 128) == 0) {
		LOG_INF("SDU sequence number: %u", sdu_seq);
	}
}
#endif

#if DECODER_DEBUG
INT_RAMFUNC static void print_sdus(void *context, uint32_t timestamp, uint16_t sdu_seq)
{
	static uint16_t last_sdu;

	if (last_sdu && (last_sdu + 1 < sdu_seq)) {
		LOG_INF("SDU sequence number jumps, last: %u, now: %u", last_sdu, sdu_seq);
	}
	last_sdu = sdu_seq;

	if (0 == (sdu_seq % 128)) {
		LOG_INF("SDU sequence number %u", sdu_seq);
	}
}
#endif

int audio_datapath_create_source(struct audio_datapath_config const *const cfg)
{
	int ret;

	if (cfg == NULL) {
		return -EINVAL;
	}

	if (env.encoder) {
		/* TODO reconfigure encoder? */

		return -EALREADY;
	}

#if !CONFIG_PM_DEVICE_SYSTEM_MANAGED
	/* Wakeup I2C and I2S devices */
	ret = pm_device_runtime_get(DEVICE_DT_GET(DT_PARENT(CODEC_CFG_NODE)));
	if (ret) {
		LOG_ERR("Failed to get runtime PM for codec I2C device, err %d", ret);
		return ret;
	}
	ret = pm_device_runtime_get(I2S_SOURCE_DEV);
	if (ret) {
		LOG_ERR("Failed to get runtime PM for I2S device, err %d", ret);
		return ret;
	}
#endif

	struct audio_encoder_params const enc_params = {
		.i2s_dev = I2S_SOURCE_DEV,
		.frame_duration_us = cfg->frame_duration_is_10ms ? 10000 : 7500,
		.sampling_rate_hz = cfg->sampling_rate_hz,
		.audio_buffer_len_us = cfg->pres_delay_us,
	};

	/* Remove old one and create a new */
	env.encoder = audio_encoder_create(&enc_params);
	if (env.encoder == NULL) {
#if !CONFIG_PM_DEVICE_SYSTEM_MANAGED
		pm_device_runtime_put_async(DEVICE_DT_GET(DT_PARENT(CODEC_CFG_NODE)), K_NO_WAIT);
		pm_device_runtime_put_async(I2S_SOURCE_DEV, K_NO_WAIT);
#endif

		LOG_ERR("Failed to create audio encoder");
		return -ENOMEM;
	}

#if ENCODER_DEBUG
	ret = audio_encoder_register_cb(env.encoder, on_encoder_frame_complete, NULL);
	if (ret) {
		LOG_ERR("Failed to register encoder cb for stats, err %d", ret);
		return ret;
	}
#endif

	LOG_DBG("Source audio datapath created");

	ARG_UNUSED(ret);

	return 0;
}

int audio_datapath_channel_create_source(size_t const octets_per_frame, uint8_t const stream_lid)
{
	int ret = audio_encoder_add_channel(env.encoder, octets_per_frame, stream_lid);

	if (ret) {
		LOG_ERR("Stream %u creation failed. Err %d", stream_lid, ret);
		return ret;
	}
	return 0;
}

int audio_datapath_channel_start_source(uint8_t const stream_lid)
{
	int ret = audio_encoder_start_channel(env.encoder, stream_lid);

	if (ret) {
		LOG_ERR("Stream %u start failed. Err %d", stream_lid, ret);
		return ret;
	}
	return 0;
}

int audio_datapath_channel_stop_source(uint8_t const stream_lid)
{
	int ret = audio_encoder_stop_channel(env.encoder, stream_lid);

	if (ret) {
		LOG_ERR("Stream %u stop failed. Err %d", stream_lid, ret);
		return ret;
	}
	return 0;
}

int audio_datapath_cleanup_source(void)
{
#if !CONFIG_PM_DEVICE_SYSTEM_MANAGED
	if (env.encoder) {
		pm_device_runtime_put_async(DEVICE_DT_GET(DT_PARENT(CODEC_CFG_NODE)), K_NO_WAIT);
		pm_device_runtime_put_async(I2S_SOURCE_DEV, K_NO_WAIT);
	}
#endif

	/* Stop encoder first as it references other modules */
	audio_encoder_delete(env.encoder);
	env.encoder = NULL;

	LOG_DBG("Source audio datapath removed");

	return 0;
}

int audio_datapath_create_sink(struct audio_datapath_config const *const cfg)
{
	if (!cfg) {
		return -EINVAL;
	}

	if (env.decoder) {
		return -EALREADY;
	}

	int ret;
	struct audio_decoder_params const dec_params = {
		.i2s_dev = I2S_SINK_DEV,
		.frame_duration_us = cfg->frame_duration_is_10ms ? 10000 : 7500,
		.sampling_rate_hz = cfg->sampling_rate_hz,
		.pres_delay_us = cfg->pres_delay_us,
	};

	/* clang-format off */

	/* Configure codec */
	struct audio_codec_cfg codec_cfg = {
		.dai_type = AUDIO_DAI_TYPE_I2S,
		.dai_cfg = {
			.i2s = {
				.word_size = AUDIO_PCM_WIDTH_16_BITS,
				.channels = 2,
				.format = I2S_FMT_DATA_FORMAT_I2S,
				.options = 0,
				.frame_clk_freq = cfg->sampling_rate_hz,
				.mem_slab = NULL,
				.block_size = 0,
				.timeout = 0,
			},
		},
	};

	/* clang-format on */

#if CONFIG_PM
	/* Workaround to get sync timer running again after sleep period.
	 * No sync timer PM support yet.
	 */
	sync_timer_init();
	sync_timer_start(NULL, NULL);

#if !CONFIG_PM_DEVICE_SYSTEM_MANAGED
	/* Wakeup I2C and I2S devices */
	ret = pm_device_runtime_get(DEVICE_DT_GET(DT_PARENT(CODEC_CFG_NODE)));
	if (ret) {
		LOG_ERR("Failed to get runtime PM for codec parent device, err %d", ret);
		return ret;
	}
	ret = pm_device_runtime_get(I2S_SINK_DEV);
	if (ret) {
		LOG_ERR("Failed to get runtime PM for I2S device, err %d", ret);
		return ret;
	}
#endif

	ret = i2c_configure(DEVICE_DT_GET(DT_PARENT(CODEC_CFG_NODE)),
			    I2C_MODE_CONTROLLER | I2C_SPEED_SET(I2C_SPEED_STANDARD));
	if (ret) {
		LOG_ERR("Failed to configure I2C for codec, err %d", ret);
		return ret;
	}
#endif

	ret = audio_codec_configure(DEVICE_DT_GET(CODEC_CFG_NODE), &codec_cfg);
	if (ret) {
		LOG_ERR("Failed to configure sink codec. err %d", ret);
		return ret;
	}
	audio_codec_start_output(DEVICE_DT_GET(CODEC_CFG_NODE));

	env.decoder = audio_decoder_create(&dec_params);

	if (!env.decoder) {
#if !CONFIG_PM_DEVICE_SYSTEM_MANAGED
		pm_device_runtime_put_async(DEVICE_DT_GET(DT_PARENT(CODEC_CFG_NODE)), K_NO_WAIT);
		pm_device_runtime_put_async(I2S_SINK_DEV, K_NO_WAIT);
#endif
		LOG_ERR("Failed to create audio decoder");
		return -ENOMEM;
	}

#if DECODER_DEBUG
	ret = audio_decoder_register_cb(env.decoder, print_sdus, NULL);
	if (ret != 0) {
		LOG_ERR("Failed to register decoder cb, err %d", ret);
		return ret;
	}
#endif

	LOG_DBG("Sink audio datapath created");

	return 0;
}

int audio_datapath_channel_create_sink(size_t const octets_per_frame, uint8_t const stream_lid)
{
	int ret = audio_decoder_add_channel(env.decoder, octets_per_frame, stream_lid);

	if (ret) {
		LOG_ERR("Failed to create stream %u, err %d", stream_lid, ret);
		return ret;
	}

	return 0;
}

int audio_datapath_channel_start_sink(uint8_t const stream_lid)
{
	int ret = audio_decoder_start_channel(env.decoder, stream_lid);

	if (ret) {
		LOG_ERR("Failed to start stream %u, err %d", stream_lid, ret);
		return ret;
	}

	return 0;
}

int audio_datapath_channel_stop_sink(uint8_t const stream_lid)
{
	int ret = audio_decoder_stop_channel(env.decoder, stream_lid);

	if (ret) {
		LOG_ERR("Failed to stop stream %u, err %d", stream_lid, ret);
		return ret;
	}

	return 0;
}

int audio_datapath_channel_volume_sink(uint8_t const volume, bool const mute)
{
	int ret;
	audio_property_value_t property_value;
	const struct device *dev = DEVICE_DT_GET(CODEC_CFG_NODE);

	property_value.vol = volume;
	ret = audio_codec_set_property(dev, AUDIO_PROPERTY_OUTPUT_VOLUME, AUDIO_CHANNEL_ALL,
				       property_value);
	if (ret) {
		LOG_ERR("Failed to set volume, err %d", ret);
		return ret;
	}

	property_value.mute = mute;
	ret = audio_codec_set_property(dev, AUDIO_PROPERTY_OUTPUT_MUTE, AUDIO_CHANNEL_ALL,
				       property_value);
	if (ret) {
		LOG_ERR("Failed to set mute, err %d", ret);
		return ret;
	}

	return 0;
}

int audio_datapath_cleanup_sink(void)
{
#if !CONFIG_PM_DEVICE_SYSTEM_MANAGED
	if (env.decoder) {
		pm_device_runtime_put_async(DEVICE_DT_GET(DT_PARENT(CODEC_CFG_NODE)), K_NO_WAIT);
		pm_device_runtime_put_async(I2S_SINK_DEV, K_NO_WAIT);
	}
#endif

	audio_decoder_delete(env.decoder);
	env.decoder = NULL;

	LOG_DBG("Sink audio datapath removed");

	return 0;
}
```

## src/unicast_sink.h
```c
/* Copyright (C) 2025 Alif Semiconductor - All Rights Reserved.
 * Use, distribution and modification of this code is permitted under the
 * terms stated in the Alif Semiconductor Software License Agreement
 *
 * You should have received a copy of the Alif Semiconductor Software
 * License Agreement with this file. If not, please write to:
 * contact@alifsemi.com, or visit: https://alifsemi.com/license
 */

#ifndef _UNICAST_SINK_H
#define _UNICAST_SINK_H


/**
 * @brief Configure LE audio unicast sink functionality
 *
 * @return 0 on success
 */
int unicast_sink_init(void);

/**
 * @brief Start the LE audio unicast advertising
 *
 * @return 0 on success
 */
int unicast_sink_adv_start(void);

/**
 * @brief Stop the advertising
 *
 * @return 0 on success
 */
int unicast_sink_adv_stop(void);

#endif /* _UNICAST_SINK_H */
```
